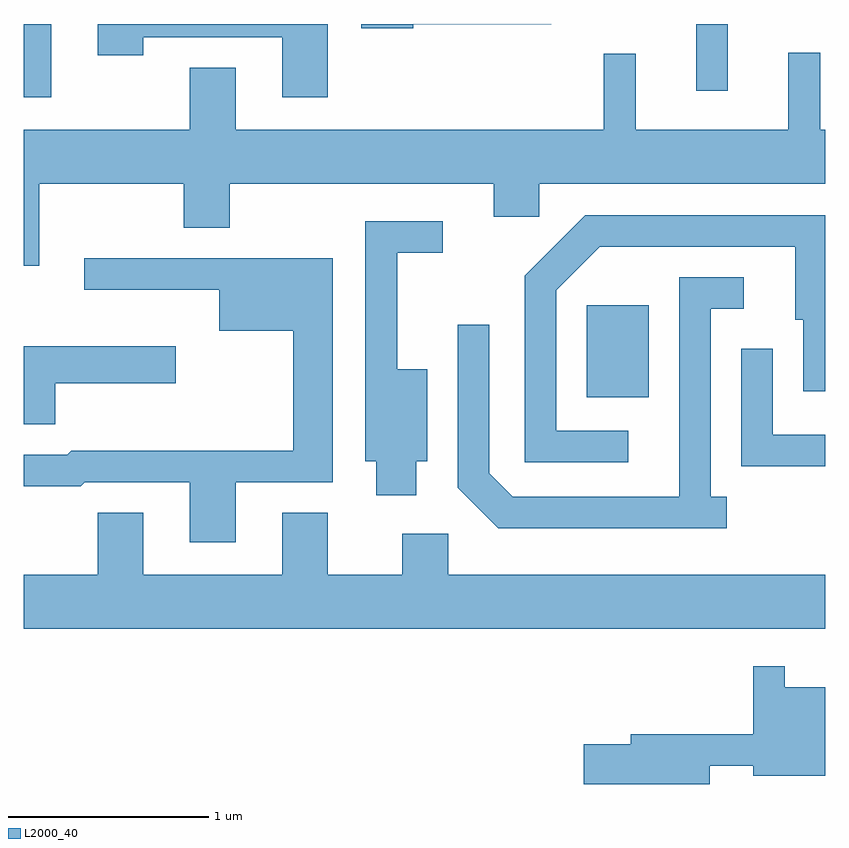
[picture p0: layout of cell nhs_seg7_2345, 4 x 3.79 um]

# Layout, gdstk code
import gdstk
lib = gdstk.Library(unit=1e-6, precision=1e-09)
def R(c, l, rs):  # rectangles x0, y0, x1, y1
    for r in rs: c.add(gdstk.rectangle(r[:2], r[2:], *l))
def P(c, l, *ps):  # polygons
    for p in ps: c.add(gdstk.Polygon(p, *l))
L2000_40 = (2000, 40)

nhs_seg7_2345 = lib.new_cell('nhs_seg7_2345')
R(nhs_seg7_2345, L2000_40, [(260.421,1684.391,260.729,1684.849), (257.611,1685.886,257.749,1686.252), (260.966,1685.918,261.124,1686.252), (260.426,1686.251,260.624,1686.252)])
P(nhs_seg7_2345, L2000_40, [(259.554,1686.251),(260.244,1686.251),(260.244,1686.252),(259.296,1686.252),(259.296,1686.231),(259.554,1686.231)],
  [(259.129,1686.252),(257.981,1686.252),(257.981,1686.096),(258.209,1686.096),(258.209,1686.186),(258.901,1686.186),(258.901,1685.886),(259.129,1685.886)],
  [(257.689,1685.456),(258.411,1685.456),(258.411,1685.236),(258.639,1685.236),(258.639,1685.456),(259.956,1685.456),(259.956,1685.291),(260.184,1685.291),(260.184,1685.456),(261.611,1685.456),(261.611,1685.724),(261.584,1685.724),(261.584,1686.108),(261.426,1686.108),(261.426,1685.724),(260.664,1685.724),(260.664,1686.103),(260.506,1686.103),(260.506,1685.724),(258.669,1685.724),(258.669,1686.034),(258.441,1686.034),(258.441,1685.724),(257.611,1685.724),(257.611,1685.046),(257.689,1685.046)],
  [(260.628,1684.224),(260.269,1684.224),(260.269,1684.924),(260.486,1685.141),(261.461,1685.141),(261.461,1684.776),(261.501,1684.776),(261.501,1684.421),(261.611,1684.421),(261.611,1685.299),(260.414,1685.299),(260.111,1684.997),(260.111,1684.066),(260.628,1684.066)],
  [(259.569,1684.071),(259.624,1684.071),(259.624,1684.529),(259.474,1684.529),(259.474,1685.111),(259.703,1685.111),(259.703,1685.269),(259.316,1685.269),(259.316,1684.071),(259.371,1684.071),(259.371,1683.901),(259.569,1683.901)],
  [(258.669,1683.966),(259.154,1683.966),(259.154,1685.084),(257.913,1685.084),(257.913,1684.926),(258.586,1684.926),(258.586,1684.721),(258.956,1684.721),(258.956,1684.124),(257.849,1684.124),(257.829,1684.104),(257.611,1684.104),(257.611,1683.946),(257.897,1683.946),(257.916,1683.966),(258.441,1683.966),(258.441,1683.666),(258.669,1683.666)],
  [(261.118,1683.894),(261.039,1683.894),(261.039,1684.831),(261.203,1684.831),(261.203,1684.989),(260.881,1684.989),(260.881,1683.894),(260.052,1683.894),(259.934,1684.012),(259.934,1684.753),(259.776,1684.753),(259.776,1683.939),(259.979,1683.736),(261.118,1683.736)],
  [(257.769,1684.461),(258.369,1684.461),(258.369,1684.644),(257.611,1684.644),(257.611,1684.256),(257.769,1684.256)],
  [(261.611,1684.204),(261.349,1684.204),(261.349,1684.633),(261.191,1684.633),(261.191,1684.046),(261.611,1684.046)],
  [(261.611,1683.504),(259.729,1683.504),(259.729,1683.709),(259.501,1683.709),(259.501,1683.504),(259.129,1683.504),(259.129,1683.814),(258.901,1683.814),(258.901,1683.504),(258.209,1683.504),(258.209,1683.814),(257.981,1683.814),(257.981,1683.504),(257.611,1683.504),(257.611,1683.236),(261.611,1683.236)],
  [(261.034,1682.551),(261.251,1682.551),(261.251,1682.501),(261.611,1682.501),(261.611,1682.944),(261.409,1682.944),(261.409,1683.048),(261.251,1683.048),(261.251,1682.709),(260.641,1682.709),(260.641,1682.659),(260.406,1682.659),(260.406,1682.461),(261.034,1682.461)])

lib.write_gds('nhs_seg7_2345.gds')
